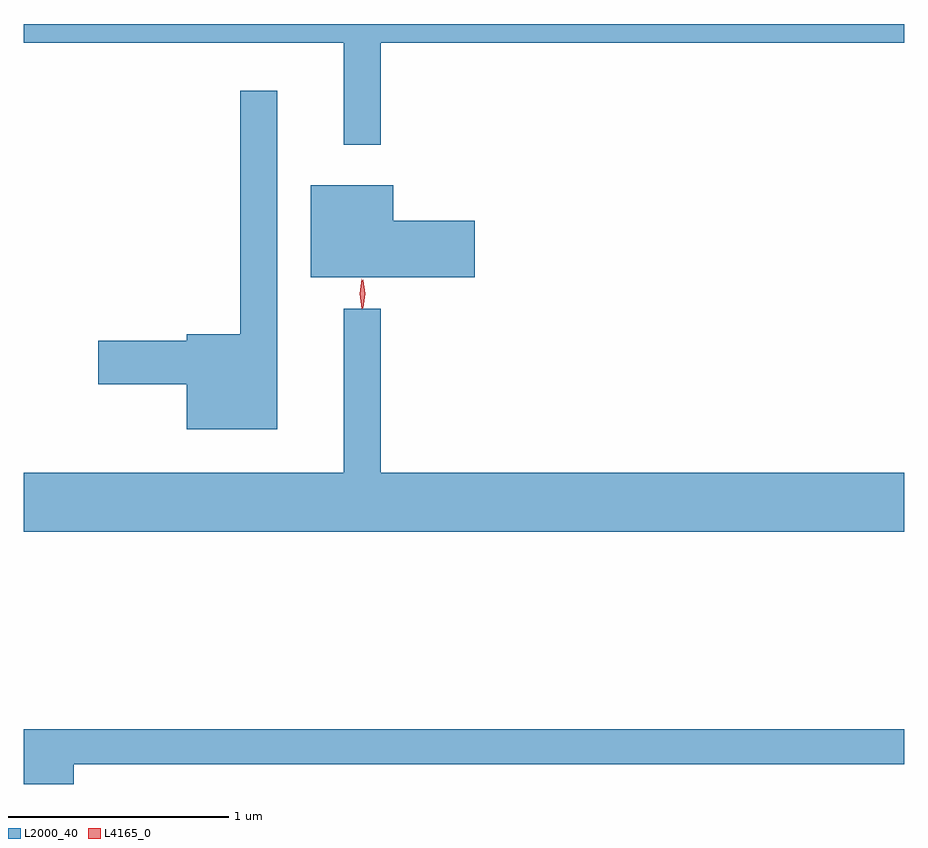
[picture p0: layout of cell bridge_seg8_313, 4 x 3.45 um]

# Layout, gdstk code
import gdstk
lib = gdstk.Library(unit=1e-6, precision=1e-09)
def P(c, l, *ps):  # polygons
    for p in ps: c.add(gdstk.Polygon(p, *l))
L2000_40 = (2000, 40)
L4165_0 = (4165, 0)

bridge_seg8_313 = lib.new_cell('bridge_seg8_313')
P(bridge_seg8_313, L2000_40, [(969.129,1911.896),(971.506,1911.896),(971.506,1911.982),(967.506,1911.982),(967.506,1911.896),(968.961,1911.896),(968.961,1911.433),(969.129,1911.433)],
  [(968.659,1911.678),(968.491,1911.678),(968.491,1910.574),(968.246,1910.574),(968.246,1910.544),(967.846,1910.544),(967.846,1910.346),(968.246,1910.346),(968.246,1910.141),(968.659,1910.141)],
  [(969.554,1911.089),(969.184,1911.089),(969.184,1911.249),(968.811,1911.249),(968.811,1910.831),(969.554,1910.831)],
  [(971.506,1909.944),(969.129,1909.944),(969.129,1910.688),(968.961,1910.688),(968.961,1909.944),(967.506,1909.944),(967.506,1909.676),(971.506,1909.676)],
  [(967.734,1908.621),(971.506,1908.621),(971.506,1908.779),(967.506,1908.779),(967.506,1908.531),(967.734,1908.531)])
P(bridge_seg8_313, L4165_0, [(969.042,1910.69),(969.032,1910.758),(969.041,1910.826),(969.042,1910.826),(969.042,1910.826),(969.052,1910.758),(969.043,1910.69),(969.043,1910.69)],
  [(969.047,1910.693),(969.038,1910.756),(969.047,1910.819),(969.048,1910.82),(969.048,1910.819),(969.058,1910.756),(969.048,1910.693),(969.048,1910.693)])

lib.write_gds('bridge_seg8_313.gds')
